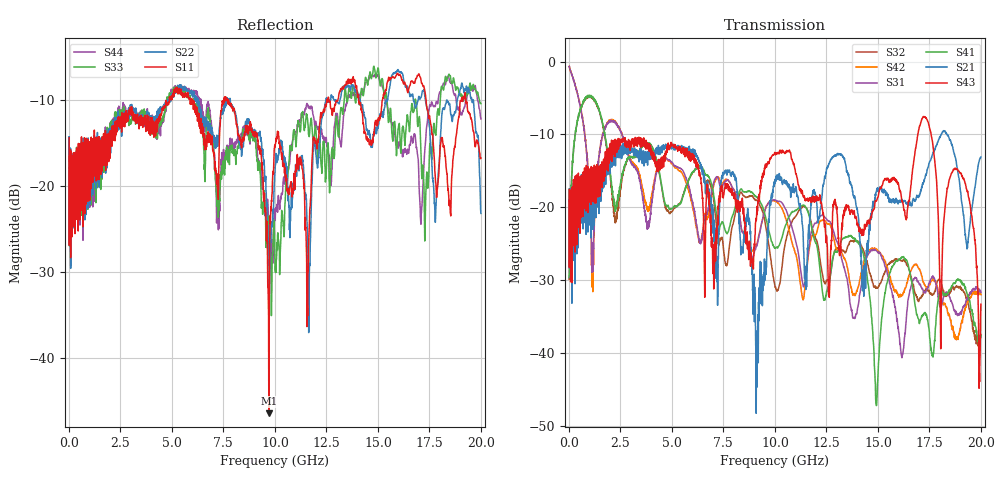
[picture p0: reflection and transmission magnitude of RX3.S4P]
# Hz S  RI  R 50
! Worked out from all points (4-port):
!   1601 points, 10 MHz to 20 GHz, reference 50 ohm
!   strongest paths, dB at 10 MHz, 5.008 GHz, 10.01 GHz, 15 GHz, 20 GHz:
!     S43: -17.6, -11.4, -12.6, -18.6, -33.3
!     S21: -17.5, -11.7, -16.2, -17.8, -13.1
!     S41: -29.6, -20.2, -25.6, -43.0, -37.6
!     S31: -0.7, -13.8, -19.0, -26.2, -31.7
!     S42: -0.7, -14.0, -19.2, -26.1, -32.0
!     S32: -29.9, -20.6, -30.8, -31.0, -37.5
!   lowest |S11| = -46.5 dB at 9.705 GHz (marker M1), VSWR 1.01, Z = 49.7 + j0.36 ohm
!   |S11| at or under -10 dB: start of sweep to 4.875 GHz; 7.747 GHz to 12.53 GHz (4.778 GHz wide, 47.1 % of centre); 17.34 GHz to 19.06 GHz (1.715 GHz wide, 9.42 % of centre)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
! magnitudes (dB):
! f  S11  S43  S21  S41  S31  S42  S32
! 10 MHz  -14.4  -17.6  -17.5  -29.6  -0.7  -0.7  -29.9
! 1.159 GHz  -19.6  -19.2  -23.0  -4.8  -28.8  -31.6  -4.9
! 2.034 GHz  -14.0  -12.3  -13.1  -15.7  -8.2  -8.1  -16.3
! 9.705 GHz  -46.5  -14.0  -22.1  -23.2  -19.3  -19.3  -25.1
! 12.63 GHz  -10.1  -32.0  -14.0  -30.6  -21.9  -22.3  -30.0
! 17.3 GHz  -9.3  -7.7  -15.8  -34.6  -31.8  -30.8  -31.4
! 20 GHz  -16.7  -33.3  -13.1  -37.6  -31.7  -32.0  -37.5
